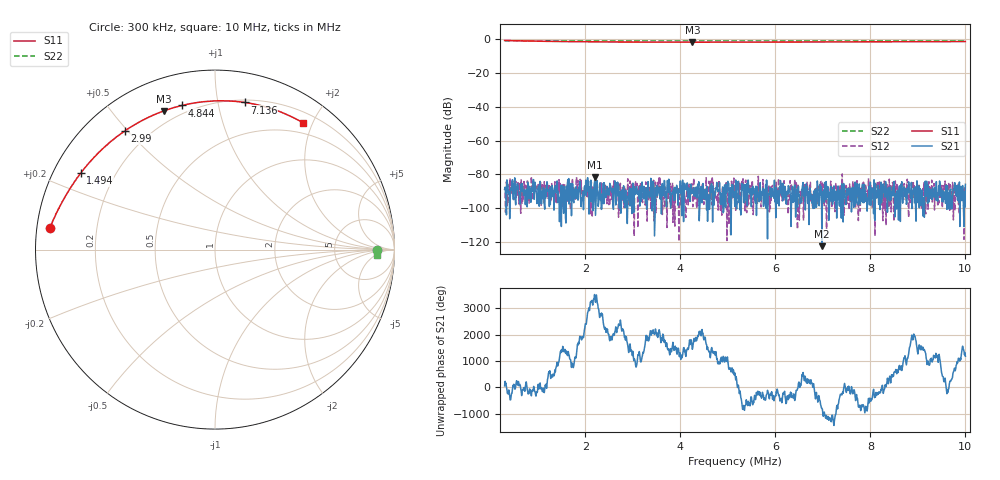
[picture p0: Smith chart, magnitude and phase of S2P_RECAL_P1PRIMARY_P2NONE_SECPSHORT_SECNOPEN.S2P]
!Keysight Technologies,E5061B,MY49709559,B.05.06
!Date: Fri Apr 08 00:54:59 2022
!Data & Calibration Information:
!Freq	S11:SOLT2(ON)	S21:SOLT2(ON)	S12:SOLT2(ON)	S22:SOLT2(ON)
# Hz S RI R 50
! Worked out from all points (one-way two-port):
!   1000 points, 300 kHz to 10 MHz, reference 50 ohm
!   highest |S21| = -81.55 dB at 2.203 MHz (marker M1); lowest = -122.5 dB at 6.98 MHz (marker M2)
!   lowest |S11| = -1.7 dB at 4.252 MHz (marker M3), VSWR 10.31, Z = 7.18 + j34.4 ohm
!   |S11| at or under -10 dB: nowhere
!   |S22| runs from -0.9 to -0.9 dB; largest |S21 - S12| = 0.00014
!   S11 on the Smith chart (normalised r, x): 300 kHz: 0.04, +0.07; 1.494 MHz: 0.08, +0.26; 2.99 MHz: 0.12, +0.49; 4.844 MHz: 0.16, +0.79; 7.136 MHz: 0.22, +1.20; 10 MHz: 0.34, +1.87
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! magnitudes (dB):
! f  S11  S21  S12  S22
! 300 kHz  -0.7  -88.8  -91.0  -0.9
! 698.1 kHz  -0.9  -92.5  -95.4  -0.9
! 853.5 kHz  -1.0  -96.5  -91.7  -0.9
! 1.193 MHz  -1.2  -84.4  -85.7  -0.9
! 1.494 MHz  -1.3  -110.9  -88.2  -0.9
! 1.922 MHz  -1.4  -95.7  -90.8  -0.9
! 2.203 MHz  -1.5  -81.6  -89.7  -0.9
! 2.64 MHz  -1.6  -98.1  -93.8  -0.9
! 2.99 MHz  -1.6  -93.3  -101.2  -0.9
! 3.543 MHz  -1.7  -87.5  -91.1  -0.9
! 4.252 MHz  -1.7  -90.8  -89.4  -0.9
! 4.844 MHz  -1.7  -97.8  -101.3  -0.9
! 5.155 MHz  -1.7  -90.5  -86.6  -0.9
! 6.767 MHz  -1.6  -94.8  -92.2  -0.9
! 6.98 MHz  -1.6  -122.5  -88.9  -0.9
! 7.136 MHz  -1.6  -100.9  -95.1  -0.9
! 7.349 MHz  -1.5  -98.8  -97.8  -0.9
! 7.359 MHz  -1.5  -92.8  -86.5  -0.9
! 7.456 MHz  -1.5  -88.0  -87.2  -0.9
! 7.466 MHz  -1.5  -93.8  -91.7  -0.9
! 8.388 MHz  -1.4  -88.9  -99.0  -0.9
! 10 MHz  -1.3  -85.9  -87.1  -0.9
